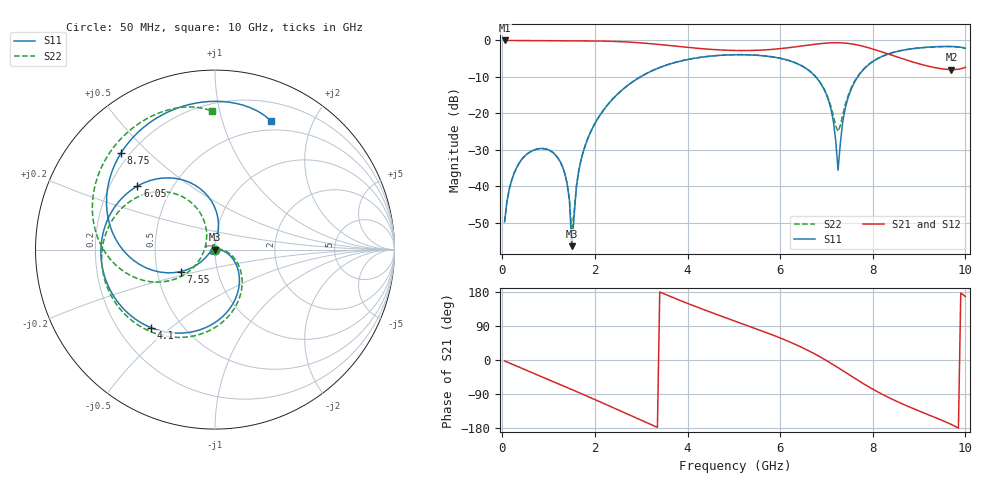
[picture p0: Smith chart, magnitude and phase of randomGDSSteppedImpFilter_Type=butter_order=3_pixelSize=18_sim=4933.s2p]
! freq	dB(S11)	phase(S11)	dB(S12)	phase(S12)
!  dB(S21)	phase(S21)	dB(S22)	phase(S22)
!S-par simulation data
#  GHz  S  DB  R 50
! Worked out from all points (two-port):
!   200 points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, 50 MHz to 10 GHz, reference 50 ohm
!   highest |S21| = -0.01 dB at 50 MHz (marker M1); lowest = -8.0 dB at 9.7 GHz (marker M2)
!   |S21| within 3 dB of the highest: start of sweep to 8.16 GHz
!   lowest |S11| = -56.5 dB at 1.5 GHz (marker M3), VSWR 1.00, Z = 49.9 - j0.0515 ohm
!   |S11| at or under -10 dB: start of sweep to 2.984 GHz; 6.766 GHz to 7.677 GHz (910.7 MHz wide, 12.6 % of centre)
!   |S22| runs from -52.4 to -1.7 dB; largest |S21 - S12| = 0
!   S11 on the Smith chart (normalised r, x): 50 MHz: 1.00, -0.01; 4.1 GHz: 0.34, -0.43; 6.05 GHz: 0.32, +0.33; 7.55 GHz: 0.66, -0.17; 8.75 GHz: 0.17, +0.41; 10 GHz: 0.40, +1.46
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0.05  -49.79 -72.4  -0.01 -2.6  -0.01 -2.6  -49.79 -72.4
0.35  -33.98 -106.6  -0.03 -18.1  -0.03 -18.1  -33.98 -106.4
1  -30.06 -142.7  -0.06 -51.7  -0.06 -51.7  -30.07 -142.9
1.35  -36.54 -161.1  -0.08 -69.9  -0.08 -69.9  -36.56 -165.0
1.45  -43.87 -165.9  -0.08 -75.2  -0.08 -75.2  -43.76 -179.4
1.5  -56.49 -159.8  -0.09 -77.8  -0.09 -77.8  -52.44 132.7
1.6  -40.28 4.3  -0.09 -83.1  -0.09 -83.1  -39.99 18.3
1.75  -30.51 -3.3  -0.11 -91.0  -0.11 -91.0  -30.43 3.5
2.35  -16.56 -36.2  -0.24 -123.5  -0.24 -123.5  -16.54 -31.5
3.4  -7.45 -93.8  -1.13 179.5  -1.13 179.5  -7.44 -88.0
4.1  -5.01 -129.2  -2.03 144.6  -2.03 144.6  -5.00 -122.0
5.05  -3.93 -172.6  -2.77 101.7  -2.77 101.7  -3.92 -163.1
6.05  -5.06 140.7  -2.20 55.8  -2.20 55.8  -5.04 154.0
6.7  -9.13 103.8  -1.13 19.1  -1.13 19.1  -9.08 122.2
7.1  -18.99 80.3  -0.66 -8.8  -0.66 -8.8  -18.25 113.4
7.25  -35.65 144.5  -0.64 -20.2  -0.64 -20.2  -24.98 165.7
7.35  -22.45 -138.9  -0.69 -28.0  -0.69 -28.0  -20.46 -148.7
7.55  -12.92 -147.2  -0.98 -43.7  -0.98 -43.7  -12.59 -141.2
8.35  -3.68 157.3  -3.82 -99.4  -3.82 -99.4  -3.64 174.0
8.75  -2.48 134.0  -5.49 -121.8  -5.49 -121.8  -2.47 153.3
9.7  -1.67 84.5  -8.01 -170.3  -8.01 -170.3  -1.71 108.5
10  -2.14 66.3  -7.38 167.6  -7.38 167.6  -2.25 91.1
